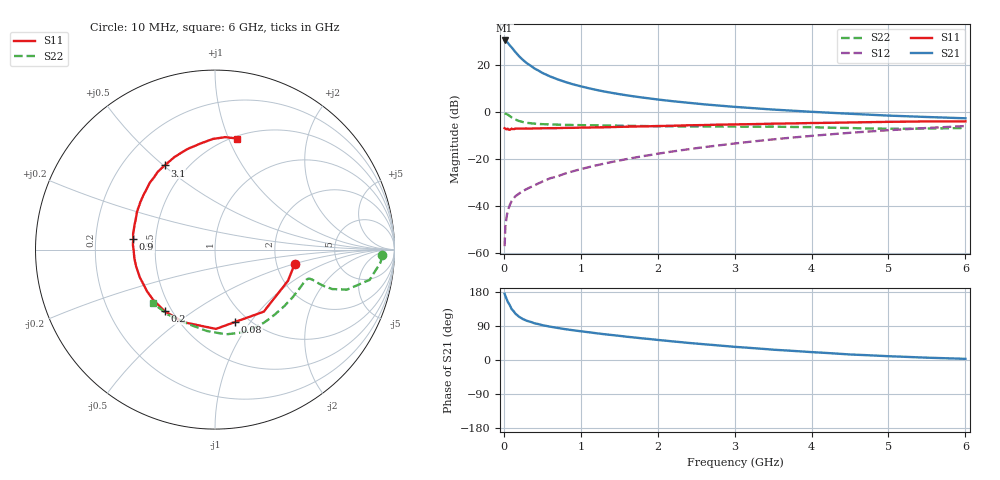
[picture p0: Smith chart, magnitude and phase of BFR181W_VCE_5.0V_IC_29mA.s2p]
! Infineon Technologies  Discrete & RF Semiconductors
! BFR181W
! VCE =  5.0 V,  IC =  29 mA
! Common Emitter S-Parameters:  Jan 2017
# GHz  S  MA  R  50
!  f  S11  S21  S12  S22
! GHz  MAG  ANG  MAG  ANG  MAG  ANG  MAG  ANG
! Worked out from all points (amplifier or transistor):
!   77 points, 10 MHz to 6 GHz, reference 50 ohm
!   highest |S21| = 30.4 dB at 10 MHz (marker M1)
!   |S21| within 3 dB of that: start of sweep to 102.7 MHz
!   unconditionally stable (mu >= 1): start of sweep to 11.1 MHz; 352.3 MHz to 2.53 GHz
!   at 130 MHz: K = 0.59, MSG = 31.5 dB, |S12| = -36.7 dB
!   at 2.2 GHz: K = 1.05, MAG = 9.2 dB, |S12| = -16.8 dB
!   at 6 GHz: K = 0.90, MSG = 1.7 dB, |S12| = -6.0 dB
!   S11 on the Smith chart (normalised r, x): 10 MHz: 2.53, -0.50; 80 MHz: 0.87, -0.85; 200 MHz: 0.46, -0.39; 900 MHz: 0.37, +0.06; 3.1 GHz: 0.38, +0.50; 6 GHz: 0.52, +1.07
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0.01  0.451 -10.1  33.1 174.8  0.0014 79.6  0.9332 -1.9
0.02  0.4422 -23.1  32.4 168.8  0.0037 83.5  0.9251 -4.4
0.05  0.4397 -51.8  29.77 153.9  0.0078 72.0  0.8779 -11.1
0.08  0.4185 -74.5  25.78 143.4  0.0107 66.5  0.8111 -14.4
0.1  0.4418 -89.3  23.73 134.6  0.0126 64.3  0.7682 -16.9
0.15  0.4416 -113.8  18.8 122.4  0.0161 60.4  0.6901 -18.6
0.2  0.4429 -129.2  15.19 113.8  0.0185 61.2  0.6394 -18.5
0.25  0.4442 -140.6  12.69 107.8  0.0209 61.0  0.6089 -18.1
0.3  0.4444 -148.5  10.83 103.4  0.0231 62.9  0.5865 -17.5
0.4  0.4463 -159.8  8.37 96.8  0.0276 65.8  0.5633 -17.1
0.5  0.4494 -168.0  6.776 92.0  0.033 68.7  0.55 -17.1
0.6  0.4518 -174.0  5.702 88.0  0.0388 71.9  0.5425 -17.5
0.7  0.4531 -179.1  4.922 84.6  0.0428 73.6  0.5363 -18.2
0.9  0.4592 172.6  3.866 78.5  0.0549 75.6  0.5277 -20.5
1.1  0.4662 165.7  3.203 73.3  0.0668 77.4  0.5218 -23.0
1.3  0.4718 159.8  2.729 68.2  0.0794 78.6  0.516 -26.1
1.5  0.4816 154.7  2.391 63.8  0.0927 79.2  0.5101 -29.4
2.1  0.5049 140.4  1.762 51.1  0.137 78.6  0.496 -41.0
3.1  0.5461 120.9  1.249 33.4  0.2226 72.6  0.4869 -62.8
4.1  0.5836 103.6  0.988 19.7  0.3196 63.1  0.4701 -85.2
5.1  0.6185 89.8  0.825 9.3  0.4178 51.6  0.4392 -113.8
6  0.6304 79.0  0.733 3.0  0.5011 40.4  0.4573 -139.5
